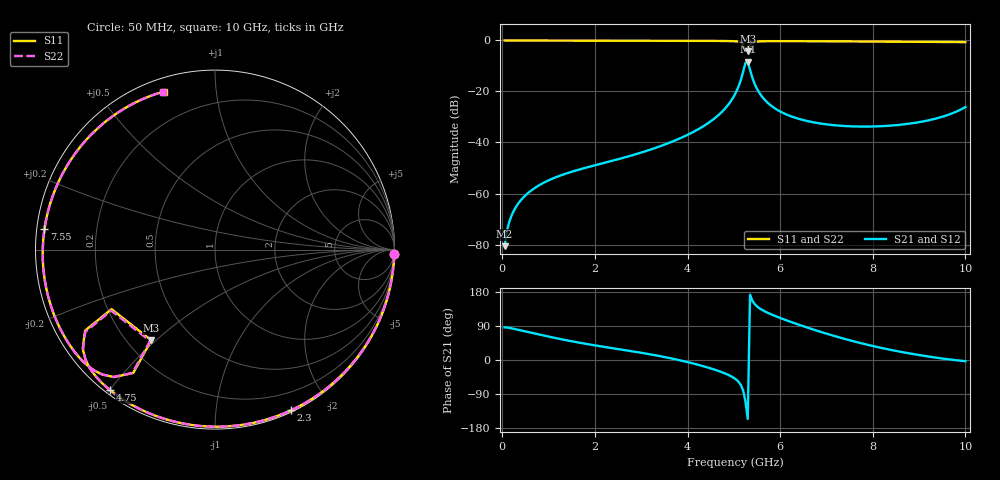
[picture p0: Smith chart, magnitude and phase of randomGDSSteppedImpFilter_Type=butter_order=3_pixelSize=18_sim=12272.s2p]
! freq	dB(S11)	phase(S11)	dB(S12)	phase(S12)
!  dB(S21)	phase(S21)	dB(S22)	phase(S22)
!S-par simulation data
#  GHz  S  DB  R 50
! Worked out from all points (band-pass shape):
!   200 points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, 50 MHz to 10 GHz, reference 50 ohm
!   highest |S21| = -8.35 dB at 5.3 GHz (marker M1); lowest = -80.6 dB at 50 MHz (marker M2)
!   |S21| within 3 dB of the highest: 5.214 GHz to 5.347 GHz (133.6 MHz wide, 2.53 % of centre)
!   lowest |S11| = -4.2 dB at 5.3 GHz (marker M3), VSWR 4.23, Z = 14.8 - j24.2 ohm
!   |S11| at or under -10 dB: nowhere
!   |S22| runs from -4.1 to 0.0 dB; largest |S21 - S12| = 0
!   S11 on the Smith chart (normalised r, x): 50 MHz: 1, -77; 2.3 GHz: 0.02, -1.58; 4.75 GHz: 0.01, -0.50; 7.55 GHz: 0.02, +0.06; 10 GHz: 0.06, +0.72
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0.05  -0.00 -1.5  -80.64 85.9  -80.64 85.9  -0.00 -1.5
0.2  -0.01 -5.9  -68.63 83.6  -68.63 83.6  -0.01 -5.9
0.5  -0.02 -14.5  -60.72 75.4  -60.72 75.4  -0.02 -14.5
1  -0.04 -28.8  -54.84 61.8  -54.84 61.8  -0.04 -28.8
1.75  -0.06 -49.8  -50.15 43.8  -50.15 43.8  -0.06 -49.7
2.3  -0.08 -64.6  -47.52 32.7  -47.52 32.7  -0.08 -64.5
3.4  -0.12 -92.9  -41.52 10.3  -41.52 10.3  -0.12 -92.8
4.2  -0.15 -112.7  -35.13 -11.7  -35.13 -11.7  -0.15 -112.6
4.75  -0.20 -126.8  -27.85 -32.6  -27.85 -32.6  -0.20 -126.7
5.05  -0.36 -137.0  -20.18 -51.6  -20.18 -51.6  -0.36 -136.8
5.2  -1.38 -148.0  -12.32 -80.0  -12.32 -80.0  -1.36 -147.6
5.25  -3.54 -150.1  -8.81 -109.0  -8.81 -109.0  -3.47 -149.6
5.3  -4.19 -125.1  -8.35 -155.6  -8.35 -155.6  -4.09 -125.4
5.35  -1.67 -123.5  -11.51 172.3  -11.51 172.3  -1.65 -123.8
5.4  -0.85 -128.4  -14.63 156.5  -14.63 156.5  -0.84 -128.5
5.7  -0.30 -142.1  -23.90 126.4  -23.90 126.4  -0.29 -142.1
6.1  -0.28 -152.7  -28.74 106.3  -28.74 106.3  -0.28 -152.7
6.7  -0.31 -166.9  -32.03 81.0  -32.03 81.0  -0.31 -166.8
7.55  -0.38 173.1  -33.68 50.5  -33.68 50.5  -0.38 173.3
8.35  -0.46 153.6  -33.43 27.7  -33.43 27.7  -0.46 153.7
9.3  -0.56 128.4  -30.90 7.4  -30.90 7.4  -0.56 128.6
10  -0.67 108.0  -26.10 -3.2  -26.10 -3.2  -0.67 108.3
